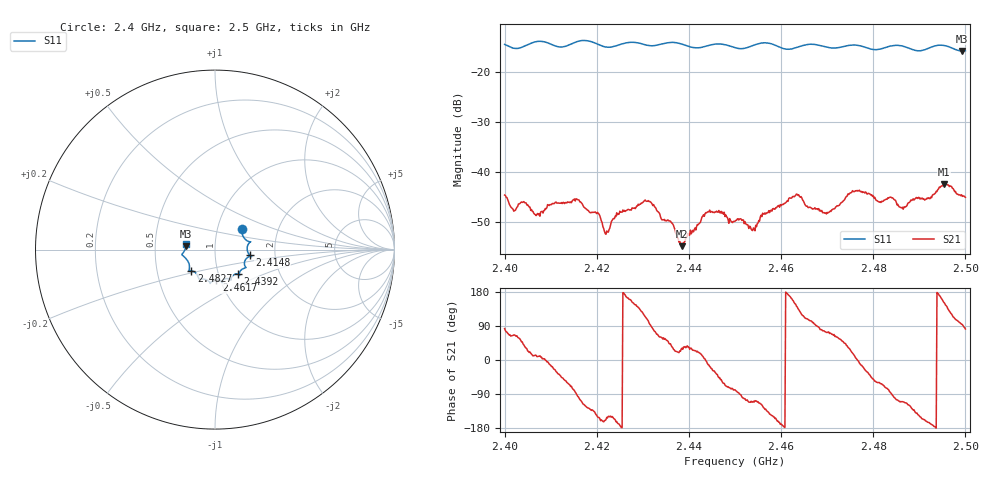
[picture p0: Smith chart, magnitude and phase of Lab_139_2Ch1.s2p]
# Hz S RI R 50
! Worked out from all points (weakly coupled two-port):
!   601 points, 2.4 GHz to 2.5 GHz, reference 50 ohm
!   highest |S21| = -42.36 dB at 2.4953 GHz (marker M1); lowest = -54.8 dB at 2.4385 GHz (marker M2)
!   lowest |S11| = -15.7 dB at 2.4993 GHz (marker M3), VSWR 1.39, Z = 36 + j1.49 ohm
!   |S11| at or under -10 dB: start of sweep to end of sweep
!   S12 and S22 are empty: the file has one direction only
!   S11 on the Smith chart (normalised r, x): 2.4 GHz: 1.31, +0.32; 2.4148 GHz: 1.47, -0.09; 2.4392 GHz: 1.24, -0.35; 2.4617 GHz: 0.96, -0.34; 2.4827 GHz: 0.75, -0.18; 2.5 GHz: 0.72, +0.05
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2.4e9  0.1508 0.116  0.000738 0.00588  0 0  0 0
2.407167e9  0.199 0.0435  0.00383 0.000609  0 0  0 0
2.414833e9  0.1929 -0.0308  0.00119 -0.00516  0 0  0 0
2.416667e9  0.2039 -0.0392  -0.0016 -0.00469  0 0  0 0
2.422167e9  0.1684 -0.0589  -0.00228 -0.00124  0 0  0 0
2.430167e9  0.1583 -0.1058  -0.00262 0.00439  0 0  0 0
2.433333e9  0.1363 -0.13  0.00171 0.00365  0 0  0 0
2.4385e9  0.1329 -0.1376  0.00156 0.00095  0 0  0 0
2.439167e9  0.1285 -0.1355  0.00168 0.00119  0 0  0 0
2.444e9  0.0897 -0.1607  0.00396 -0.000629  0 0  0 0
2.45e9  0.071 -0.1616  0.000635 -0.00318  0 0  0 0
2.454e9  0.0394 -0.1817  -0.0009 -0.00263  0 0  0 0
2.461667e9  0.00774 -0.1698  -0.00541 0.000877  0 0  0 0
2.466667e9  -0.0266 -0.189  -0.000907 0.00427  0 0  0 0
2.470333e9  -0.0405 -0.172  0.00109 0.00382  0 0  0 0
2.476e9  -0.0881 -0.1653  0.00637 0.00112  0 0  0 0
2.482667e9  -0.1321 -0.1178  0.0016 -0.00512  0 0  0 0
2.483333e9  -0.1378 -0.1172  0.0011 -0.00542  0 0  0 0
2.486667e9  -0.1435 -0.1107  -0.00162 -0.00421  0 0  0 0
2.495333e9  -0.1838 -0.0254  -0.00672 0.0036  0 0  0 0
2.499333e9  -0.1619 0.0201  -0.000359 0.00574  0 0  0 0
2.5e9  -0.1611 0.032  0.000799 0.00557  0 0  0 0
